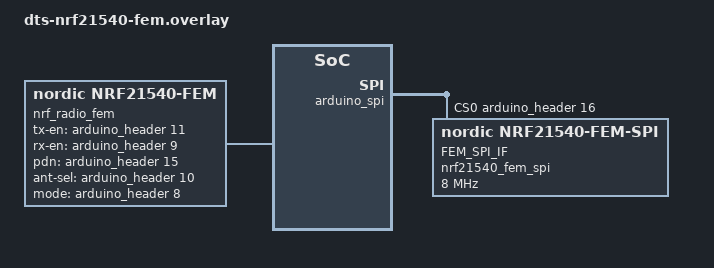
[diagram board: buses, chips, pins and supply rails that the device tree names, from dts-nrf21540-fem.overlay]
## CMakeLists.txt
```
#
# Copyright (c) 2020 Nordic Semiconductor
#
# SPDX-License-Identifier: LicenseRef-Nordic-5-Clause
#

cmake_minimum_required(VERSION 3.20.0)

find_package(Zephyr REQUIRED HINTS $ENV{ZEPHYR_BASE})
project(peripheral_radio_test)

# Application sources
FILE(GLOB app_sources src/*.c)

# NORDIC SDK APP START
target_sources(app PRIVATE
  ${app_sources}
)
# NORDIC SDK APP END
```

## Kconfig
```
#
# Copyright (c) 2020 Nordic Semiconductor
#
# SPDX-License-Identifier: LicenseRef-Nordic-5-Clause
#

mainmenu "Nordic Radio test sample"

config RADIO_TEST_POWER_CONTROL_AUTOMATIC
	bool "Automatic power control"
	depends on FEM
	default y
	help
	  Sets the SoC output power and front-end module gain to achieve the requested TX output power.
	  If the exact value cannot be achieved, power is set to closest value that does not exceed the limits
	  If this option is disabled, set the SoC output power and FEM gain with separate commands.

config RADIO_TEST_RX_TIMEOUT
	int "RX packet reception timeout"
	default 10
	help
	  Specifies the time in seconds that the application waits for the first packet to be
	  received in RX mode when a specified number of packets are set to be received.
	  If the timeout is reached before the first packet is received, the radio will be disabled.

source "Kconfig.zephyr"
```

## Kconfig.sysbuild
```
#
# Copyright (c) 2023 Nordic Semiconductor ASA
#
# SPDX-License-Identifier: LicenseRef-Nordic-5-Clause
#

if SOC_NRF5340_CPUNET

choice APPCORE
	default APPCORE_NONE if BOARD_NRF7002DK
	default APPCORE_REMOTE_SHELL

config APPCORE_REMOTE_SHELL
	bool "remote_shell image"

endchoice

config APPCORE_IMAGE_NAME
	default "remote_shell" if APPCORE_REMOTE_SHELL

config APPCORE_IMAGE_PATH
	default "$(ZEPHYR_NRF_MODULE_DIR)/samples/nrf5340/remote_shell" if APPCORE_REMOTE_SHELL

endif # SOC_NRF5340_CPUNET

source "share/sysbuild/Kconfig"
```

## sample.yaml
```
sample:
  description: Radio Test sample
  name: Radio Test
tests:
  sample.peripheral.radio_test:
    sysbuild: true
    build_only: true
    integration_platforms:
      - nrf5340dk/nrf5340/cpunet
      - nrf7002dk/nrf5340/cpunet
      - nrf54l15dk/nrf54l05/cpuapp
      - nrf54l15dk/nrf54l10/cpuapp
      - nrf54l15dk/nrf54l15/cpuapp
      - nrf54l15tag/nrf54l15/cpuapp
      - nrf54lm20dk/nrf54lm20a/cpuapp
      - nrf54lm20dongle/nrf54lm20b/cpuapp
      - nrf54lv10dk/nrf54lv10a/cpuapp
      - nrf54lc10dk/nrf54lc10a/cpuapp
      - nrf54h20dk/nrf54h20/cpurad
      - nrf7120dk/nrf7120/cpuapp
    platform_allow:
      - nrf5340dk/nrf5340/cpunet
      - nrf7002dk/nrf5340/cpunet
      - nrf54l15dk/nrf54l05/cpuapp
      - nrf54l15dk/nrf54l10/cpuapp
      - nrf54l15dk/nrf54l15/cpuapp
      - nrf54l15tag/nrf54l15/cpuapp
      - nrf54lm20dk/nrf54lm20a/cpuapp
      - nrf54lm20dongle/nrf54lm20b/cpuapp
      - nrf54lm20dk/nrf54lm20b/cpuapp
      - nrf54ls05dk/nrf54ls05b/cpuapp
      - nrf54lv10dk/nrf54lv10a/cpuapp
      - nrf54lc10dk/nrf54lc10a/cpuapp
      - nrf54h20dk/nrf54h20/cpurad
      - nrf7120dk/nrf7120/cpuapp
    tags:
      - ci_build
      - sysbuild
      - ci_samples_peripheral_radio_test

  sample.peripheral.radio_test.nrf5340_nrf21540:
    sysbuild: true
    build_only: true
    extra_args: SHIELD=nrf21540ek
    integration_platforms:
      - nrf5340dk/nrf5340/cpunet
    platform_allow: nrf5340dk/nrf5340/cpunet
    tags:
      - ci_build
      - sysbuild
      - ci_samples_peripheral_radio_test

  sample.peripheral.radio_test.nrf5340_usb:
    sysbuild: true
    build_only: true
    extra_args:
      - FILE_SUFFIX=usb
      - EXTRA_CONF_FILE=conf/usb.conf
    integration_platforms:
      - nrf5340dk/nrf5340/cpunet
    platform_allow: nrf5340dk/nrf5340/cpunet
    tags:
      - ci_build
      - sysbuild
      - ci_samples_peripheral_radio_test

  sample.peripheral.radio_test.nrf54lm20_usb:
    sysbuild: true
    build_only: true
    extra_args:
      - radio_test_SNIPPET=cdc-acm-console
      - EXTRA_CONF_FILE=conf/usb.conf
    integration_platforms:
      - nrf54lm20dk/nrf54lm20a/cpuapp
      - nrf54lm20dongle/nrf54lm20b/cpuapp
    platform_allow:
      - nrf54lm20dk/nrf54lm20a/cpuapp
      - nrf54lm20dongle/nrf54lm20b/cpuapp
      - nrf54lm20dk/nrf54lm20b/cpuapp
    tags:
      - ci_build
      - sysbuild
      - ci_samples_peripheral_radio_test

  sample.peripheral.radio_test.nrf54l15tag_rtt:
    sysbuild: true
    build_only: true
    extra_args:
      - radio_test_SNIPPET=rtt-console
      - EXTRA_CONF_FILE=conf/rtt.conf
    integration_platforms:
      - nrf54l15tag/nrf54l15/cpuapp
    platform_allow: nrf54l15tag/nrf54l15/cpuapp
    tags:
      - ci_build
      - sysbuild
      - ci_samples_peripheral_radio_test

  sample.peripheral.radio_test.nrf5340_nrf21540_usb:
    sysbuild: true
    build_only: true
    extra_args:
      - SHIELD=nrf21540ek
      - FILE_SUFFIX=usb
      - EXTRA_CONF_FILE=conf/usb.conf
    integration_platforms:
      - nrf5340dk/nrf5340/cpunet
    platform_allow: nrf5340dk/nrf5340/cpunet
    tags:
      - ci_build
      - sysbuild
      - ci_samples_peripheral_radio_test

  sample.peripheral.radio_test.nrf5340_nrf21540.no_automatic_power:
    sysbuild: true
    build_only: true
    extra_args: SHIELD=nrf21540ek
    extra_configs:
      - CONFIG_RADIO_TEST_POWER_CONTROL_AUTOMATIC=n
    integration_platforms:
      - nrf5340dk/nrf5340/cpunet
    platform_allow: nrf5340dk/nrf5340/cpunet
    tags:
      - ci_build
      - sysbuild
      - ci_samples_peripheral_radio_test
  sample.peripheral.radio_test.nrf2240:
    sysbuild: true
    build_only: true
    extra_args: SHIELD=nrf2240eb
    integration_platforms:
      - nrf5340dk/nrf5340/cpunet
      - nrf54l15dk/nrf54l15/cpuapp
    platform_allow:
      - nrf5340dk/nrf5340/cpunet
      - nrf54l15dk/nrf54l15/cpuapp
    tags:
      - ci_build
      - sysbuild
      - ci_samples_peripheral_radio_test
  sample.peripheral.radio_test.nrf5340_nrf2240_usb:
    sysbuild: true
    build_only: true
    extra_args:
      - SHIELD=nrf2240eb
      - FILE_SUFFIX=usb
      - EXTRA_CONF_FILE=conf/usb.conf
    integration_platforms:
      - nrf5340dk/nrf5340/cpunet
    platform_allow: nrf5340dk/nrf5340/cpunet
    tags:
      - ci_build
      - sysbuild
      - ci_samples_peripheral_radio_test

  sample.peripheral.radio_test.llvm:
    toolchain_allow: llvm
    sysbuild: true
    build_only: true
    integration_platforms:
      - nrf54l15dk/nrf54l15/cpuapp
      - nrf54l15tag/nrf54l15/cpuapp
      - nrf54lm20dk/nrf54lm20a/cpuapp
      - nrf54lm20dongle/nrf54lm20b/cpuapp
    platform_allow:
      - nrf54l15dk/nrf54l15/cpuapp
      - nrf54l15tag/nrf54l15/cpuapp
      - nrf54lm20dk/nrf54lm20a/cpuapp
      - nrf54lm20dongle/nrf54lm20b/cpuapp
    tags:
      - ci_build
      - sysbuild
      - ci_samples_peripheral_radio_test

  sample.peripheral.radio_test.legacy:
    sysbuild: true
    build_only: true
    extra_configs:
      - CONFIG_CLOCK_CONTROL_NRF=y
      - CONFIG_WARN_DEPRECATED=n
    integration_platforms:
      - nrf5340dk/nrf5340/cpunet
      - nrf7002dk/nrf5340/cpunet
      - nrf54l15dk/nrf54l05/cpuapp
      - nrf54l15dk/nrf54l10/cpuapp
      - nrf54l15dk/nrf54l15/cpuapp
      - nrf54l15tag/nrf54l15/cpuapp
      - nrf54lm20dk/nrf54lm20a/cpuapp
      - nrf54lm20dongle/nrf54lm20b/cpuapp
      - nrf54lv10dk/nrf54lv10a/cpuapp
      - nrf54h20dk/nrf54h20/cpurad
    platform_allow:
      - nrf5340dk/nrf5340/cpunet
      - nrf7002dk/nrf5340/cpunet
      - nrf54l15dk/nrf54l05/cpuapp
      - nrf54l15dk/nrf54l10/cpuapp
      - nrf54l15dk/nrf54l15/cpuapp
      - nrf54l15tag/nrf54l15/cpuapp
      - nrf54lm20dk/nrf54lm20a/cpuapp
      - nrf54lm20dongle/nrf54lm20b/cpuapp
      - nrf54ls05dk/nrf54ls05b/cpuapp
      - nrf54lv10dk/nrf54lv10a/cpuapp
      - nrf54h20dk/nrf54h20/cpurad
    tags:
      - ci_build
      - sysbuild
      - ci_samples_peripheral_radio_test

  sample.peripheral.radio_test.nrf5340_nrf21540.legacy:
    sysbuild: true
    build_only: true
    extra_args: SHIELD=nrf21540ek
    extra_configs:
      - CONFIG_CLOCK_CONTROL_NRF=y
      - CONFIG_WARN_DEPRECATED=n
    integration_platforms:
      - nrf5340dk/nrf5340/cpunet
    platform_allow: nrf5340dk/nrf5340/cpunet
    tags:
      - ci_build
      - sysbuild
      - ci_samples_peripheral_radio_test

  sample.peripheral.radio_test.nrf5340_usb.legacy:
    sysbuild: true
    build_only: true
    extra_args:
      - FILE_SUFFIX=usb
      - EXTRA_CONF_FILE=conf/usb.conf
    extra_configs:
      - CONFIG_CLOCK_CONTROL_NRF=y
      - CONFIG_WARN_DEPRECATED=n
    integration_platforms:
      - nrf5340dk/nrf5340/cpunet
    platform_allow: nrf5340dk/nrf5340/cpunet
    tags:
      - ci_build
      - sysbuild
      - ci_samples_peripheral_radio_test

  sample.peripheral.radio_test.nrf5340_nrf21540_usb.legacy:
    sysbuild: true
    build_only: true
    extra_args:
      - SHIELD=nrf21540ek
      - FILE_SUFFIX=usb
      - EXTRA_CONF_FILE=conf/usb.conf
    extra_configs:
      - CONFIG_CLOCK_CONTROL_NRF=y
      - CONFIG_WARN_DEPRECATED=n
    integration_platforms:
      - nrf5340dk/nrf5340/cpunet
    platform_allow: nrf5340dk/nrf5340/cpunet
    tags:
      - ci_build
      - sysbuild
      - ci_samples_peripheral_radio_test

  sample.peripheral.radio_test.nrf5340_nrf21540.no_automatic_power.legacy:
    sysbuild: true
    build_only: true
    extra_args: SHIELD=nrf21540ek
    extra_configs:
      - CONFIG_CLOCK_CONTROL_NRF=y
      - CONFIG_WARN_DEPRECATED=n
      - CONFIG_RADIO_TEST_POWER_CONTROL_AUTOMATIC=n
    integration_platforms:
      - nrf5340dk/nrf5340/cpunet
    platform_allow: nrf5340dk/nrf5340/cpunet
    tags:
      - ci_build
      - sysbuild
      - ci_samples_peripheral_radio_test

  sample.peripheral.radio_test.llvm.legacy:
    toolchain_allow: llvm
    sysbuild: true
    build_only: true
    extra_configs:
      - CONFIG_CLOCK_CONTROL_NRF=y
      - CONFIG_WARN_DEPRECATED=n
    integration_platforms:
      - nrf54l15dk/nrf54l15/cpuapp
      - nrf54l15tag/nrf54l15/cpuapp
      - nrf54lm20dk/nrf54lm20a/cpuapp
      - nrf54lm20dongle/nrf54lm20b/cpuapp
    platform_allow:
      - nrf54l15dk/nrf54l15/cpuapp
      - nrf54l15tag/nrf54l15/cpuapp
      - nrf54lm20dk/nrf54lm20a/cpuapp
      - nrf54lm20dongle/nrf54lm20b/cpuapp
    tags:
      - ci_build
      - sysbuild
      - ci_samples_peripheral_radio_test
```

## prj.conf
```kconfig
#
# Copyright (c) 2020 Nordic Semiconductor
#
# SPDX-License-Identifier: LicenseRef-Nordic-5-Clause
#

CONFIG_CONSOLE_HANDLER=y
CONFIG_SHELL=y

CONFIG_DYNAMIC_INTERRUPTS=y

CONFIG_NRFX_TIMER=y
CONFIG_NRFX_GPPI=y
CONFIG_CLOCK_CONTROL=y
CONFIG_CLOCK_CONTROL_NRF=n

CONFIG_ENTROPY_GENERATOR=y
CONFIG_PSA_CRYPTO=y

CONFIG_FEM_AL_LIB=y
CONFIG_PICOLIBC_IO_FLOAT=y
CONFIG_SHELL_BACKEND_SERIAL_RX_RING_BUFFER_SIZE=1024

CONFIG_SHELL_ARGC_MAX=255
CONFIG_SHELL_STACK_SIZE=4096
CONFIG_ASSERT=y
```

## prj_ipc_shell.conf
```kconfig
#
# Copyright (c) 2022 Nordic Semiconductor
#
# SPDX-License-Identifier: LicenseRef-Nordic-5-Clause
#

CONFIG_CONSOLE_HANDLER=y

CONFIG_SHELL=y
CONFIG_SHELL_IPC=y
CONFIG_SHELL_LOG_BACKEND=y
CONFIG_SHELL_PROMPT_IPC="network_core:~$ "

CONFIG_LOG=y
CONFIG_LOG_PRINTK=y

CONFIG_PM_DEVICE=y
CONFIG_DYNAMIC_INTERRUPTS=y

CONFIG_IPC_SERVICE=y
CONFIG_IPC_SERVICE_BACKEND_RPMSG=y
CONFIG_MBOX=y

CONFIG_NRFX_TIMER0=y

CONFIG_HEAP_MEM_POOL_SIZE=4096

CONFIG_NCS_SAMPLE_REMOTE_SHELL_CHILD_IMAGE=y
```

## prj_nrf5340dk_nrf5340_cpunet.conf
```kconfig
#
# Copyright (c) 2022 Nordic Semiconductor
#
# SPDX-License-Identifier: LicenseRef-Nordic-5-Clause
#

CONFIG_CONSOLE=n
CONFIG_SERIAL=n
CONFIG_UART_CONSOLE=n

CONFIG_SHELL=y
CONFIG_SHELL_IPC=y
CONFIG_SHELL_LOG_BACKEND=y
CONFIG_SHELL_BACKEND_SERIAL=n
CONFIG_SHELL_PROMPT_IPC="radio_test:~$ "

CONFIG_LOG=y
CONFIG_LOG_PRINTK=y

CONFIG_DYNAMIC_INTERRUPTS=y

CONFIG_MBOX=y
CONFIG_IPC_SERVICE=y
CONFIG_IPC_SERVICE_BACKEND_RPMSG=y

CONFIG_NRFX_TIMER0=y

CONFIG_HEAP_MEM_POOL_SIZE=4096

CONFIG_NCS_SAMPLE_REMOTE_SHELL_CHILD_IMAGE=y

CONFIG_ENTROPY_GENERATOR=y
```

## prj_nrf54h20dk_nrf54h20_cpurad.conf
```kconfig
#
# Copyright (c) 2023 Nordic Semiconductor
#
# SPDX-License-Identifier: LicenseRef-Nordic-5-Clause
#

CONFIG_CONSOLE_HANDLER=y
CONFIG_SHELL=y

CONFIG_DYNAMIC_INTERRUPTS=y

CONFIG_NRFX_TIMER020=y

CONFIG_ENTROPY_GENERATOR=y
CONFIG_ENTROPY_TEST_PRNG=y

CONFIG_SERIAL=y
CONFIG_CONSOLE=y
CONFIG_UART_CONSOLE=y

CONFIG_NRFX_PPIB=y
```

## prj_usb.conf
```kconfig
#
# Copyright (c) 2024 Nordic Semiconductor
#
# SPDX-License-Identifier: LicenseRef-Nordic-5-Clause
#

CONFIG_CONSOLE_HANDLER=y
CONFIG_SHELL=y

CONFIG_DYNAMIC_INTERRUPTS=y

CONFIG_NRFX_TIMER=y
CONFIG_CLOCK_CONTROL=y

CONFIG_ENTROPY_GENERATOR=y
CONFIG_PSA_CRYPTO=y

CONFIG_FEM_AL_LIB=y

CONFIG_RADIO_TEST_USB=y
```

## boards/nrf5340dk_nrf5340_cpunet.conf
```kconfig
#
# Copyright (c) 2022 Nordic Semiconductor
#
# SPDX-License-Identifier: LicenseRef-Nordic-5-Clause
#

CONFIG_CONSOLE_HANDLER=n
CONFIG_CONSOLE=n
CONFIG_SERIAL=n
CONFIG_UART_CONSOLE=n

CONFIG_SHELL_IPC=y
CONFIG_SHELL_LOG_BACKEND=y
CONFIG_SHELL_BACKEND_SERIAL=n
CONFIG_SHELL_PROMPT_IPC="radio_test:~$ "

CONFIG_LOG=y
CONFIG_LOG_PRINTK=y

CONFIG_MBOX=y
CONFIG_IPC_SERVICE=y
CONFIG_IPC_SERVICE_BACKEND_RPMSG=y

CONFIG_HEAP_MEM_POOL_SIZE=4096
```

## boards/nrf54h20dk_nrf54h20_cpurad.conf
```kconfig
#
# Copyright (c) 2024 Nordic Semiconductor
#
# SPDX-License-Identifier: LicenseRef-Nordic-5-Clause
#
CONFIG_NRFX_GPPI_V1=n
```

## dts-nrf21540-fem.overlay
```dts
/* Copyright (c) 2021 Nordic Semiconductor ASA
 *
 * SPDX-License-Identifier: LicenseRef-Nordic-5-Clause
 */

 / {
	nrf_radio_fem: nrf21540_fem {
		compatible = "nordic,nrf21540-fem";
		tx-en-gpios = <&arduino_header 11 GPIO_ACTIVE_HIGH>;   /* D5 */
		rx-en-gpios = <&arduino_header 9 GPIO_ACTIVE_HIGH>;    /* D3 */
		pdn-gpios = <&arduino_header 15 GPIO_ACTIVE_HIGH>;     /* D9 */
		ant-sel-gpios = <&arduino_header 10 GPIO_ACTIVE_HIGH>; /* D4 */
		mode-gpios = <&arduino_header 8 GPIO_ACTIVE_HIGH>;     /* D2 */
		spi-if = <&nrf_radio_fem_spi>;
	};
};

fem_spi: &arduino_spi {
	status = "okay";
	cs-gpios = <&arduino_header 16 0>; /* D10 */

	nrf_radio_fem_spi: nrf21540_fem_spi@0 {
		compatible = "nordic,nrf21540-fem-spi";
		status = "okay";
		reg = <0>;
		label = "FEM_SPI_IF";
		spi-max-frequency = <8000000>;
	};
};
```

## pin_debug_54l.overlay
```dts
/ {
	zephyr,user {
		ready-disabled-gpios = <&gpio1 11 GPIO_ACTIVE_HIGH>;
		address-end-gpios = <&gpio1 12 GPIO_ACTIVE_HIGH>;
	};
};

&gpio1 {
	status = "okay";
};

&gpiote20 {
	status = "okay";
};
```

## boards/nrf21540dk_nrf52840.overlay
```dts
/ {
     aliases {
             nrf21540-spi = &spi0;
     };
};

&spi0 {
	compatible = "nordic,nrf-spim";
	status = "okay";
	clock-frequency = <8000000>;
	cs-gpios = <&gpio0 21 GPIO_ACTIVE_LOW>;
	pinctrl-0 = <&spi0_default_alt>;
	pinctrl-1 = <&spi0_sleep_alt>;
	pinctrl-names = "default", "sleep";
};

&pinctrl {
	spi0_default_alt: spi0_default_alt {
		group1 {
			psels = <NRF_PSEL(SPIM_SCK, 1, 15)>,
				<NRF_PSEL(SPIM_MOSI, 1, 13)>,
				<NRF_PSEL(SPIM_MISO, 1, 14)>;
		};
	};

	spi0_sleep_alt: spi0_sleep_alt {
		group1 {
			psels = <NRF_PSEL(SPIM_SCK, 1, 15)>,
				<NRF_PSEL(SPIM_MOSI, 1, 13)>,
				<NRF_PSEL(SPIM_MISO, 1, 14)>;
			low-power-enable;
		};
	};

};
```

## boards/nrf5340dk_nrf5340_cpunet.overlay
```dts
/*
 * Copyright (c) 2022 Nordic Semiconductor ASA
 *
 * SPDX-License-Identifier: LicenseRef-Nordic-5-Clause
 */

/ {
	chosen {
		zephyr,shell-ipc = &ipc0;
	};
};

&uart0 {
	status = "disabled";
};
```

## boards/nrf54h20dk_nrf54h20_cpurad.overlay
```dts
/*
 * Copyright (c) 2024 Nordic Semiconductor ASA
 *
 * SPDX-License-Identifier: LicenseRef-Nordic-5-Clause
 */

/ {
	chosen {
		zephyr,console = &uart136;
		zephyr,shell-uart = &uart136;
	};
};

&uart135 {
	status = "disabled";
};

&cpurad_dma_region {
	status = "disabled";
};

/* Take Application's DMA region, which is larger and unused. */
cpurad_dma_region_alt: &cpuapp_dma_region {
	status = "okay";
};

&uart136 {
	status = "okay";
	memory-regions = <&cpurad_dma_region_alt>;
};

&dppic020 {
	status = "okay";
	source-channels = <0 1>;
	sink-channels = <2 3>;
};

/ {
	cpurad_cpusys_errata216_mboxes: errata216_mboxes {
		compatible = "zephyr,mbox-ipm";
		status = "okay";
		mboxes = <&cpusys_vevif 0x14>, <&cpusys_vevif 0x15>;
		mbox-names = "on_req", "off_req";
	};
};
```

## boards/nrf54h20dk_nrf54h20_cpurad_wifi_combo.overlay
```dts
/*
 * Copyright (c) 2024 Nordic Semiconductor ASA
 *
 * SPDX-License-Identifier: LicenseRef-Nordic-5-Clause
 */

&dppic020 {
	status = "okay";
	source-channels = <0 1>;
	sink-channels = <2 3>;
};
```

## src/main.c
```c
/*
 * Copyright (c) 2020 Nordic Semiconductor ASA
 *
 * SPDX-License-Identifier: LicenseRef-Nordic-5-Clause
 */

#include <zephyr/sys/printk.h>
#include <zephyr/drivers/clock_control.h>
#include <zephyr/drivers/clock_control/nrf_clock_control.h>
#include <zephyr/pm/device_runtime.h>
#if NRF_ERRATA_STATIC_CHECK(54L, 39)
#include <hal/nrf_clock.h>
#endif /* NRF_ERRATA_STATIC_CHECK(54L, 39) */
#if defined(CONFIG_HAS_NORDIC_MULTI_OPTION_CLOCKS)
#include <hal/nrf_lrcconf.h>
#endif
#include <nrfx.h>
#if defined(NRF7120_XXAA)
#include <hal/nrf_power.h>
#elif NRF_ERRATA_STATIC_CHECK(54L, 20) || NRF_ERRATA_STATIC_CHECK(71, 20)
#include <hal/nrf_power.h>
#endif /* NRF_ERRATA_STATIC_CHECK(54L, 20) || NRF_ERRATA_STATIC_CHECK(71, 20) */

/* Empty trim value */
#define TRIM_VALUE_EMPTY 0xFFFFFFFF

#if !(defined(CONFIG_CLOCK_CONTROL_NRF_COMMON) || defined(CONFIG_CLOCK_CONTROL_NRF))
BUILD_ASSERT(false, "No Clock Control driver");
#endif

#ifdef CONFIG_CLOCK_CONTROL_NRF
static void clock_init(void)
{
	int err;
	int res;
	struct onoff_client clk_cli;
	struct onoff_manager *clk_mgr;

	clk_mgr = z_nrf_clock_control_get_onoff(CLOCK_CONTROL_NRF_SUBSYS_HF);
	if (!clk_mgr) {
		printk("Unable to get the Clock manager\n");
		return;
	}

	sys_notify_init_spinwait(&clk_cli.notify);

	err = onoff_request(clk_mgr, &clk_cli);

	if (err < 0) {
		printk("Clock request failed: %d\n", err);
		return;
	}

	do {
		err = sys_notify_fetch_result(&clk_cli.notify, &res);
		if (!err && res) {
			printk("Clock could not be started: %d\n", res);
			return;
		}
	} while (err);

#if defined(NRF7120_XXAA)
	nrf_power_task_trigger(NRF_POWER, NRF_POWER_TASK_CONSTLAT);
#elif NRF_ERRATA_STATIC_CHECK(54L, 20) || NRF_ERRATA_STATIC_CHECK(71, 20)
	if (NRF_ERRATA_DYNAMIC_CHECK(54L, 20) || NRF_ERRATA_DYNAMIC_CHECK(71, 20)) {
		nrf_power_task_trigger(NRF_POWER, NRF_POWER_TASK_CONSTLAT);
	}
#endif /* NRF_ERRATA_STATIC_CHECK(54L, 20) || NRF_ERRATA_STATIC_CHECK(71, 20) */

#if NRF_ERRATA_STATIC_CHECK(54L, 39)
	if (NRF_ERRATA_DYNAMIC_CHECK(54L, 39)) {
		nrf_clock_task_trigger(NRF_CLOCK, NRF_CLOCK_TASK_PLLSTART);
	}
#endif /* NRF_ERRATA_STATIC_CHECK(54L, 39) */

	printk("Clock has started\n");
}

#else /* CONFIG_CLOCK_CONTROL_NRF */

#ifndef CONFIG_HAS_NORDIC_MULTI_OPTION_CLOCKS
#define CLK_DEV                                                                                    \
	DEVICE_DT_GET_ONE(                                                                         \
		COND_CODE_1(NRF_CLOCK_HAS_HFCLK, (nordic_nrf_clock_hfclk), (nordic_nrf_clock_xo)))
#else
#define CLK_DEV DEVICE_DT_GET(DT_CLOCKS_CTLR(DT_NODELABEL(radio)))
#endif

static void clock_init(void)
{
	int err;
	int res;
	struct onoff_client clk_cli;

#ifdef CONFIG_HAS_NORDIC_MULTI_OPTION_CLOCKS
	/** Keep radio domain powered all the time to reduce latency. */
	nrf_lrcconf_poweron_force_set(NRF_LRCCONF010, NRF_LRCCONF_POWER_DOMAIN_1, true);
#endif

	sys_notify_init_spinwait(&clk_cli.notify);

	err = nrf_clock_control_request(CLK_DEV, NULL, &clk_cli);

	if (err < 0) {
		printk("Clock request failed: %d\n", err);
		return;
	}

	do {
		err = sys_notify_fetch_result(&clk_cli.notify, &res);
		if (!err && res) {
			printk("Clock could not be started: %d\n", res);
			return;
		}
	} while (err == -EAGAIN);

#if defined(NRF7120_XXAA)
	nrf_power_task_trigger(NRF_POWER, NRF_POWER_TASK_CONSTLAT);
#elif NRF_ERRATA_STATIC_CHECK(54L, 20) || NRF_ERRATA_STATIC_CHECK(71, 20)
	if (NRF_ERRATA_DYNAMIC_CHECK(54L, 20) || NRF_ERRATA_DYNAMIC_CHECK(71, 20)) {
		nrf_power_task_trigger(NRF_POWER, NRF_POWER_TASK_CONSTLAT);
	}
#endif /* NRF_ERRATA_STATIC_CHECK(54L, 20) || NRF_ERRATA_STATIC_CHECK(71, 20) */

#if NRF_ERRATA_STATIC_CHECK(54L, 39)
	if (NRF_ERRATA_DYNAMIC_CHECK(54L, 39)) {
		nrf_clock_task_trigger(NRF_CLOCK, NRF_CLOCK_TASK_PLLSTART);
	}
#endif /* NRF_ERRATA_STATIC_CHECK(54L, 39) */

	printk("Clock has started\n");
}

#endif /* CONFIG_CLOCK_CONTROL_NRF */

#if NRF_ERRATA_STATIC_CHECK(54H, 103)
static void nrf54hx_radio_trim(void)
{
	if (NRF_ERRATA_DYNAMIC_CHECK(54H, 103)) {
		/* Apply HMPAN-103 workaround for nRF54H series*/
		if ((*(volatile uint32_t *) 0x5302C8A0UL == 0x80000000UL) ||
		    (*(volatile uint32_t *) 0x5302C8A0UL == 0x0058120EUL)) {
			*(volatile uint32_t *) 0x5302C8A0UL = 0x0058090EUL;
		}

		*(volatile uint32_t *) 0x5302C8A4UL = 0x00F8AA5FUL;
		*(volatile uint32_t *) 0x5302C8A8UL = 0x00C00030UL;
		*(volatile uint32_t *) 0x5302C8ACUL = 0x00A80030UL;
		*(volatile uint32_t *) 0x5302C7ACUL = 0x8672827AUL;
		*(volatile uint32_t *) 0x5302C7B0UL = 0x7E768672UL;
		*(volatile uint32_t *) 0x5302C7B4UL = 0x0406007EUL;
		*(volatile uint32_t *) 0x5302C7E4UL = 0x0412C384UL;
	}
}
#endif /* NRF_ERRATA_STATIC_CHECK(54H, 103) */

#if NRF_ERRATA_STATIC_CHECK(54H, 229)
static void nrf54hx_rssi_offset_adjust(void)
{
	if (NRF_ERRATA_DYNAMIC_CHECK(54H, 229)) {
		/* Apply HMPAN-229 workaround for nRF54H series */
		if (*(volatile uint32_t *)0x0FFFE46CUL == 0x0UL) {
			*(volatile uint32_t *)0x5302C7D8UL = 0x00000004UL;
		}
	}
}
#endif /* NRF_ERRATA_STATIC_CHECK(54H, 229) */

int main(void)
{
	printk("Starting Radio Test sample\n");

#if defined(CONFIG_SOC_SERIES_NRF54H)
	const struct device *console_uart = DEVICE_DT_GET_OR_NULL(DT_CHOSEN(zephyr_console));
	const struct device *shell_uart = DEVICE_DT_GET_OR_NULL(DT_CHOSEN(zephyr_shell_uart));

	if (console_uart != NULL) {
		int ret = pm_device_runtime_get(console_uart);

		if (ret < 0) {
			printk("Failed to get console UART runtime PM: %d\n", ret);
		}
	}

	if (shell_uart != NULL && shell_uart != console_uart) {
		int ret = pm_device_runtime_get(shell_uart);

		if (ret < 0) {
			printk("Failed to get shell UART runtime PM: %d\n", ret);
		}
	}
#endif /* defined(CONFIG_SOC_SERIES_NRF54H) */

	clock_init();

#if NRF_ERRATA_STATIC_CHECK(54H, 103)
	nrf54hx_radio_trim();
#endif /* NRF_ERRATA_STATIC_CHECK(54H, 103) */

#if NRF_ERRATA_STATIC_CHECK(54H, 229)
	nrf54hx_rssi_offset_adjust();
#endif /* NRF_ERRATA_STATIC_CHECK(54H, 229) */

	return 0;
}
```

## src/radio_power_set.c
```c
/*
 * Copyright (c) 2026 Nordic Semiconductor ASA
 *
 * SPDX-License-Identifier: LicenseRef-Nordic-5-Clause
 */

#include "radio_power_set.h"
#include "radio_test.h"

#include <inttypes.h>
#include <zephyr/kernel.h>

#ifdef NRF53_SERIES
#include <hal/nrf_vreqctrl.h>
#endif

#if NRF_RADIO_HAS_TXPOWER

static nrf_radio_txpower_t dbm_to_nrf_radio_txpower(int8_t tx_power)
{
	switch (tx_power) {
#if defined(RADIO_TXPOWER_TXPOWER_Neg100dBm)
	case -100:
		return RADIO_TXPOWER_TXPOWER_Neg100dBm;
#endif /* defined(RADIO_TXPOWER_TXPOWER_Neg100dBm) */

#if defined(RADIO_TXPOWER_TXPOWER_Neg70dBm)
	case -70:
		return RADIO_TXPOWER_TXPOWER_Neg70dBm;
#endif /* defined(RADIO_TXPOWER_TXPOWER_Neg70dBm) */

#if defined(RADIO_TXPOWER_TXPOWER_Neg46dBm)
	case -46:
		return RADIO_TXPOWER_TXPOWER_Neg46dBm;
#endif /* defined(RADIO_TXPOWER_TXPOWER_Neg46dBm) */

	case -40:
		return RADIO_TXPOWER_TXPOWER_Neg40dBm;

#if defined(RADIO_TXPOWER_TXPOWER_Neg30dBm)
	case -30:
		return RADIO_TXPOWER_TXPOWER_Neg30dBm;
#endif /* defined(RADIO_TXPOWER_TXPOWER_Neg30dBm) */

#if defined(RADIO_TXPOWER_TXPOWER_Neg28dBm)
	case -28:
		return RADIO_TXPOWER_TXPOWER_Neg28dBm;
#endif /* defined(RADIO_TXPOWER_TXPOWER_Neg28dBm) */

#if defined(RADIO_TXPOWER_TXPOWER_Neg22dBm)
	case -22:
		return RADIO_TXPOWER_TXPOWER_Neg22dBm;
#endif /* defined(RADIO_TXPOWER_TXPOWER_Neg22dBm) */

	case -20:
		return RADIO_TXPOWER_TXPOWER_Neg20dBm;

#if defined(RADIO_TXPOWER_TXPOWER_Neg18dBm)
	case -18:
		return RADIO_TXPOWER_TXPOWER_Neg18dBm;
#endif /* defined(RADIO_TXPOWER_TXPOWER_Neg18dBm) */

	case -16:
		return RADIO_TXPOWER_TXPOWER_Neg16dBm;

#if defined(RADIO_TXPOWER_TXPOWER_Neg14dBm)
	case -14:
		return RADIO_TXPOWER_TXPOWER_Neg14dBm;
#endif /* defined(RADIO_TXPOWER_TXPOWER_Neg14dBm) */

	case -12:
		return RADIO_TXPOWER_TXPOWER_Neg12dBm;

#if defined(RADIO_TXPOWER_TXPOWER_Neg10dBm)
	case -10:
		return RADIO_TXPOWER_TXPOWER_Neg10dBm;
#endif /* defined(RADIO_TXPOWER_TXPOWER_Neg10dBm) */

#if defined(RADIO_TXPOWER_TXPOWER_Neg9dBm)
	case -9:
		return RADIO_TXPOWER_TXPOWER_Neg9dBm;
#endif /* defined(RADIO_TXPOWER_TXPOWER_Neg9dBm) */

	case -8:
		return RADIO_TXPOWER_TXPOWER_Neg8dBm;

#if defined(RADIO_TXPOWER_TXPOWER_Neg7dBm)
	case -7:
		return RADIO_TXPOWER_TXPOWER_Neg7dBm;
#endif /* defined(RADIO_TXPOWER_TXPOWER_Neg7dBm) */

#if defined(RADIO_TXPOWER_TXPOWER_Neg6dBm)
	case -6:
		return RADIO_TXPOWER_TXPOWER_Neg6dBm;
#endif /* defined(RADIO_TXPOWER_TXPOWER_Neg6dBm) */

#if defined(RADIO_TXPOWER_TXPOWER_Neg5dBm)
	case -5:
		return RADIO_TXPOWER_TXPOWER_Neg5dBm;
#endif /* defined(RADIO_TXPOWER_TXPOWER_Neg5dBm) */

	case -4:
		return RADIO_TXPOWER_TXPOWER_Neg4dBm;

#if defined(RADIO_TXPOWER_TXPOWER_Neg3dBm)
	case -3:
		return RADIO_TXPOWER_TXPOWER_Neg3dBm;
#endif /* defined (RADIO_TXPOWER_TXPOWER_Neg3dBm) */

#if defined(RADIO_TXPOWER_TXPOWER_Neg2dBm)
	case -2:
		return RADIO_TXPOWER_TXPOWER_Neg2dBm;
#endif /* defined (RADIO_TXPOWER_TXPOWER_Neg2dBm) */

#if defined(RADIO_TXPOWER_TXPOWER_Neg1dBm)
	case -1:
		return RADIO_TXPOWER_TXPOWER_Neg1dBm;
#endif /* defined (RADIO_TXPOWER_TXPOWER_Neg1dBm) */

	case 0:
		return RADIO_TXPOWER_TXPOWER_0dBm;

#if defined(RADIO_TXPOWER_TXPOWER_Pos1dBm)
	case 1:
		return RADIO_TXPOWER_TXPOWER_Pos1dBm;
#endif /* defined(RADIO_TXPOWER_TXPOWER_Pos1dBm) */

#if defined(RADIO_TXPOWER_TXPOWER_Pos2dBm)
	case 2:
		return RADIO_TXPOWER_TXPOWER_Pos2dBm;
#endif /* defined(RADIO_TXPOWER_TXPOWER_Pos2dBm) */

#if defined(RADIO_TXPOWER_TXPOWER_Pos3dBm)
	case 3:
		return RADIO_TXPOWER_TXPOWER_Pos3dBm;
#endif /* defined(RADIO_TXPOWER_TXPOWER_Pos3dBm) */

#if defined(RADIO_TXPOWER_TXPOWER_Pos4dBm)
	case 4:
		return RADIO_TXPOWER_TXPOWER_Pos4dBm;
#endif /* defined(RADIO_TXPOWER_TXPOWER_Pos4dBm) */

#if defined(RADIO_TXPOWER_TXPOWER_Pos5dBm)
	case 5:
		return RADIO_TXPOWER_TXPOWER_Pos5dBm;
#endif /* defined(RADIO_TXPOWER_TXPOWER_Pos5dBm) */

#if defined(RADIO_TXPOWER_TXPOWER_Pos6dBm)
	case 6:
		return RADIO_TXPOWER_TXPOWER_Pos6dBm;
#endif /* defined(RADIO_TXPOWER_TXPOWER_Pos6dBm) */

#if defined(RADIO_TXPOWER_TXPOWER_Pos7dBm)
	case 7:
		return RADIO_TXPOWER_TXPOWER_Pos7dBm;
#endif /* defined(RADIO_TXPOWER_TXPOWER_Pos7dBm) */

#if defined(RADIO_TXPOWER_TXPOWER_Pos8dBm)
	case 8:
		return RADIO_TXPOWER_TXPOWER_Pos8dBm;
#endif /* defined(RADIO_TXPOWER_TXPOWER_Pos8dBm) */

#if defined(RADIO_TXPOWER_TXPOWER_Pos9dBm)
	case 9:
		return RADIO_TXPOWER_TXPOWER_Pos9dBm;
#endif /* defined(RADIO_TXPOWER_TXPOWER_Pos9dBm) */

#if defined(RADIO_TXPOWER_TXPOWER_Pos10dBm)
	case 10:
		return RADIO_TXPOWER_TXPOWER_Pos10dBm;
#endif /* defined(RADIO_TXPOWER_TXPOWER_Pos10dBm) */

	default:
		printk("TX power to enumerator conversion failed, defaulting to 0 dBm\n");
		return RADIO_TXPOWER_TXPOWER_0dBm;
	}
}

void radio_power_set(nrf_radio_mode_t mode, uint8_t channel, int8_t power)
{
	int8_t output_power = power;
	int8_t radio_power = power;

#if CONFIG_FEM
	uint16_t frequency;

	if (IS_ENABLED(CONFIG_RADIO_TEST_POWER_CONTROL_AUTOMATIC)) {
		frequency = channel_to_frequency(mode, channel);
		output_power = fem_tx_output_power_prepare(power, &radio_power, mode, frequency);
	}
#else
	ARG_UNUSED(mode);
	ARG_UNUSED(channel);
#endif /* CONFIG_FEM */

#ifdef NRF53_SERIES
	bool high_voltage_enable = false;

	if (radio_power > 0) {
		high_voltage_enable = true;

		/* High voltage increases radio output power by 3 dBm. */
		radio_power -= 3;
	}

	nrf_vreqctrl_radio_high_voltage_set(NRF_VREQCTRL, high_voltage_enable);
#endif /* NRF53_SERIES */

	nrf_radio_txpower_set(NRF_RADIO, dbm_to_nrf_radio_txpower(radio_power));

	if (!radio_test_sweep_processing()) {
		printk("Requested tx output power: %" PRIi8 " dBm\n", power);
		printk("Tx output power set to: %" PRIi8 " dBm\n", output_power);
	}
}

#endif /* NRF_RADIO_HAS_TXPOWER */
```

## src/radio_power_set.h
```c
/*
 * Copyright (c) 2026 Nordic Semiconductor ASA
 *
 * SPDX-License-Identifier: LicenseRef-Nordic-5-Clause
 */

#ifndef RADIO_POWER_SET_H_
#define RADIO_POWER_SET_H_

#include <stdint.h>
#include <stdbool.h>
#include <hal/nrf_radio.h>

/**
 * @brief Set the radio power.
 *
 * @param[in] mode  Radio mode.
 * @param[in] channel  Channel.
 * @param[in] power  Power.
 */
void radio_power_set(nrf_radio_mode_t mode, uint8_t channel, int8_t power);

#endif /* RADIO_POWER_SET_H_ */
```

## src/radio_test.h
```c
/*
 * Copyright (c) 2020 Nordic Semiconductor ASA
 *
 * SPDX-License-Identifier: LicenseRef-Nordic-5-Clause
 */

#ifndef RADIO_TEST_H_
#define RADIO_TEST_H_

#include <zephyr/types.h>
#include <hal/nrf_radio.h>
#include <fem_al/fem_al.h>

#ifdef NRF53_SERIES
#ifndef RADIO_TXPOWER_TXPOWER_Pos3dBm
	#define RADIO_TXPOWER_TXPOWER_Pos3dBm (0x03UL)
#endif /* RADIO_TXPOWER_TXPOWER_Pos3dBm */

#ifndef RADIO_TXPOWER_TXPOWER_Pos2dBm
	#define RADIO_TXPOWER_TXPOWER_Pos2dBm (0x02UL)
#endif /* RADIO_TXPOWER_TXPOWER_Pos2dBm */

#ifndef RADIO_TXPOWER_TXPOWER_Pos1dBm
	#define RADIO_TXPOWER_TXPOWER_Pos1dBm (0x01UL)
#endif /* RADIO_TXPOWER_TXPOWER_Pos1dBm */
#endif /* NRF53_SERIES */

/** Maximum radio RX or TX payload. */
#define RADIO_MAX_PAYLOAD_LEN	256
/** IEEE 802.15.4 maximum payload length. */
#define IEEE_MAX_PAYLOAD_LEN	127
/** IEEE 802.15.4 minimum channel. */
#define IEEE_MIN_CHANNEL	11
/** IEEE 802.15.4 maximum channel. */
#define IEEE_MAX_CHANNEL	26

#define FEM_USE_DEFAULT_TX_POWER_CONTROL 0xFF

/**@brief Radio transmit and address pattern. */
enum transmit_pattern {
	/** Random pattern. */
	TRANSMIT_PATTERN_RANDOM,

	/** Pattern 11110000(F0). */
	TRANSMIT_PATTERN_11110000,

	/** Pattern 11001100(CC). */
	TRANSMIT_PATTERN_11001100,
};

/**@brief Radio test mode. */
enum radio_test_mode {
	/** TX carrier. */
	UNMODULATED_TX,

	/** Modulated TX carrier. */
	MODULATED_TX,

	/** RX carrier. */
	RX,

	/** TX carrier sweep. */
	TX_SWEEP,

	/** RX carrier sweep. */
	RX_SWEEP,

	/** Duty-cycled modulated TX carrier. */
	MODULATED_TX_DUTY_CYCLE,

	/** TX carrier sweep with unmodulated carrier wave. */
	TX_SWEEP_WITH_SLEEP,

	/** TX carrier sweep with modulated carrier wave. */
	TX_SWEEP_WITH_SLEEP_MODULATED,
};

/**@brief Radio test front-end module (FEM) configuration */
struct radio_test_fem {
	/* Front-end module radio ramp-up time in microseconds. */
	uint32_t ramp_up_time;

	/* Front-end module TX power control specific to given front-end module.
	 * For nRF21540 GPIO/SPI, this is a register value.
	 * For nRF21540 GPIO, this is MODE pin value.
	 */
	fem_tx_power_control tx_power_control;
};

/**@brief Radio test configuration. */
struct radio_test_config {
	/** Radio test type. */
	enum radio_test_mode type;

	/** Radio mode. Data rate and modulation. */
	nrf_radio_mode_t mode;

	union {
		struct {
			/** Radio output power. */
			int8_t txpower;

			/** Radio channel. */
			uint8_t channel;
		} unmodulated_tx;

		struct {
			/** Radio output power. */
			int8_t txpower;

			/** Radio transmission pattern. */
			enum transmit_pattern pattern;

			/** Radio channel. */
			uint8_t channel;

			/**
			 * Number of packets to transmit.
			 * Set to zero for continuous TX.
			 */
			uint32_t packets_num;

			/** Callback to indicate that TX is finished. */
			void (*cb)(void);
		} modulated_tx;

		struct {
			/** Radio transmission pattern. */
			enum transmit_pattern pattern;

			/** Radio channel. */
			uint8_t channel;

			/**
			 * Number of packets to be received.
			 * Set to zero for continuous RX.
			 */
			uint32_t packets_num;

			/** Callback to indicate that RX is finished. */
			void (*cb)(void);
		} rx;

		struct {
			/** Radio output power. */
			int8_t txpower;

			/** Radio start channel (frequency). */
			uint8_t channel_start;

			/** Radio end channel (frequency). */
			uint8_t channel_end;

			/** Delay time in milliseconds. */
			uint32_t delay_ms;
		} tx_sweep;

		struct {
			/** Radio start channel (frequency). */
			uint8_t channel_start;

			/** Radio end channel (frequency). */
			uint8_t channel_end;

			/** Delay time in milliseconds. */
			uint32_t delay_ms;
		} rx_sweep;

		struct {
			/** Radio output power. */
			int8_t txpower;

			/** Radio transmission pattern. */
			enum transmit_pattern pattern;

			/** Radio channel. */
			uint8_t channel;

			/** Duty cycle. */
			uint32_t duty_cycle;

			/**
			 * Number of packets to transmit.
			 * Set to zero for continuous mode.
			 */
			uint32_t packets_num;

			/** Callback to indicate that TX is finished. */
			void (*cb)(void);
		} modulated_tx_duty_cycle;

		struct {
			/** Radio output power. */
			int8_t txpower;

			/** Radio transmission time in us. */
			uint16_t t_tx_us;

			/** Radio sleep time in us. */
			uint16_t t_sleep_us;
		} tx_sweep_with_sleep;

		struct {
			/** Radio output power. */
			int8_t txpower;

			/** Radio transmission pattern. */
			enum transmit_pattern pattern;

			/** Radio transmission time in us. */
			uint16_t t_tx_us;

			/** Radio sleep time in us. */
			uint16_t t_sleep_us;
		} tx_sweep_with_sleep_modulated;

	} params;

#if CONFIG_FEM
	/* Front-end module (FEM) configuration. */
	struct radio_test_fem fem;
#endif /* CONFIG_FEM */
};

/**@brief Radio RX statistics. */
struct radio_rx_stats {
	/** Content of the last packet. */
	struct {
		/** Content of the last packet. */
		uint8_t *buf;

		/** Length of the last packet. */
		size_t len;
	} last_packet;

	/** Number of received packets with valid CRC. */
	uint32_t packet_cnt;
};

/**
 * @brief How the TX sweep walks the configured channel list.
 *
 * Sequential: index order. Random: list order is shuffled before use.
 */
typedef enum {
	CHANNEL_HOP_SEQUENTIAL,
	CHANNEL_HOP_RANDOM_FISHER_YATES,
} channel_hopping_mode_t;

/**
 * @brief Configurable channel sequence.
 *
 * sequence_array holds the configured channel order (never permuted here).
 * When hopping_mode is CHANNEL_HOP_RANDOM_FISHER_YATES,
 * the sweep uses shuffled.sequence, a Fisher–Yates permutation of sequence_array.
 */
struct radio_test_channel_sequence {
	/** Length of configurable channel sequence. */
	uint8_t length;

	/** Configured channel sequence (canonical order). */
	uint8_t sequence_array[80];

	/* Index of the next channel in the sequence. */
	uint8_t current_index;

	/** Channel hopping mode. */
	channel_hopping_mode_t hopping_mode;

	/** Shuffled channel sequence. */
	struct {
		uint32_t seed;
		uint8_t sequence[80];
	} shuffled;
};

/**
 * @brief Function for initializing the Radio Test module.
 *
 * @param[in] config  Radio test configuration.
 *
 * @retval 0 If the operation was successful.
 *           Otherwise, a (negative) error code is returned.
 */
int radio_test_init(struct radio_test_config *config);

/**
 * @brief Function for starting radio test.
 *
 * @param[in] config  Radio test configuration.
 */
void radio_test_start(const struct radio_test_config *config);

/**
 * @brief Function for stopping ongoing test (Radio and Timer operations).
 *
 * @param[in] type  Radio test mode.
 */
void radio_test_cancel(enum radio_test_mode type);

/**
 * @brief Function for get RX statistics.
 *
 * @param[out] rx_stats RX statistics.
 */
void radio_rx_stats_get(struct radio_rx_stats *rx_stats);

/**
 * @brief Function for toggling the DC/DC converter state.
 *
 * @param[in] dcdc_state  DC/DC converter state.
 */
void toggle_dcdc_state(uint8_t dcdc_state);

/**
 * @brief Function for getting the radio_test_channel_sequence for the TX sweep with sleep.
 *
 * @return Pointer to the static channel_sequence in the radio_test
 */
struct radio_test_channel_sequence *radio_test_channel_sequence_get(void);

/**
 * @brief Shuffle channel sequence using Fisher–Yates shuffling algorithm.
 * Randomness provided by standard library rand().
 */
void shuffle_channel_sequence(void);

/**
 * @brief Convert channel to frequency.
 *
 * @param[in] mode  Radio mode.
 * @param[in] channel  Channel.
 *
 * @return Frequency.
 */
uint16_t channel_to_frequency(nrf_radio_mode_t mode, uint8_t channel);

/**
 * @brief Function for processing the radio test sweep.
 *
 * @return True if the sweep is finished, false otherwise.
 */
bool radio_test_sweep_processing(void);

#endif /* RADIO_TEST_H_ */
```
